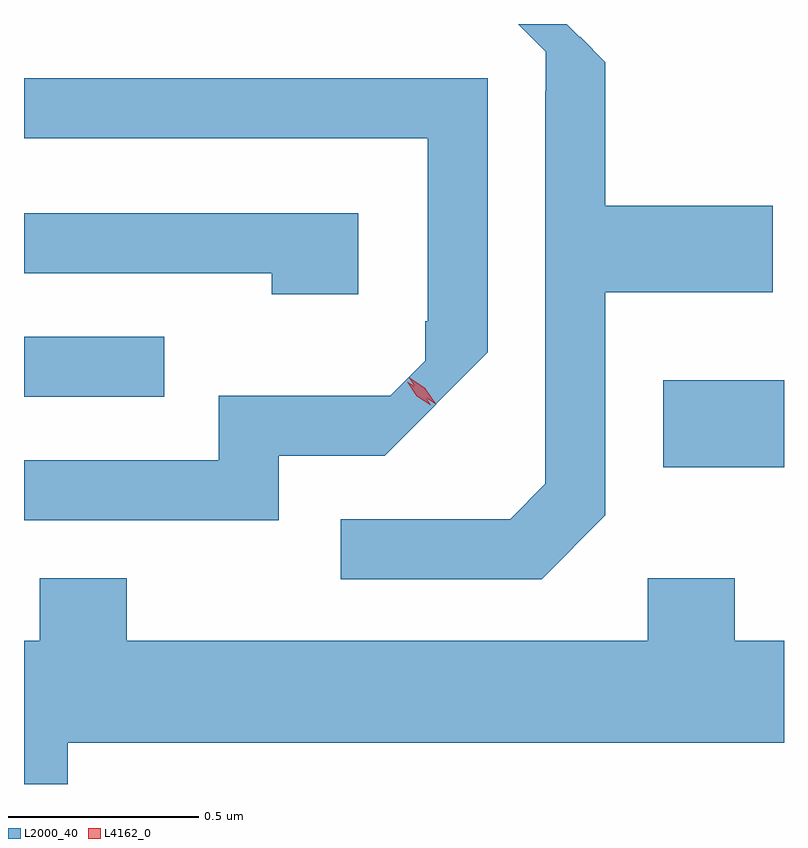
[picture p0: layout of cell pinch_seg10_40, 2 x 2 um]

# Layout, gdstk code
import gdstk
lib = gdstk.Library(unit=1e-6, precision=1e-09)
def R(c, l, rs):  # rectangles x0, y0, x1, y1
    for r in rs: c.add(gdstk.rectangle(r[:2], r[2:], *l))
def P(c, l, *ps):  # polygons
    for p in ps: c.add(gdstk.Polygon(p, *l))
L2000_40 = (2000, 40)
L4162_0 = (4162, 0)

pinch_seg10_40 = lib.new_cell('pinch_seg10_40')
R(pinch_seg10_40, L2000_40, [(596.531,2187.901,596.849,2188.129), (594.849,2188.086,595.218,2188.244)])
P(pinch_seg10_40, L2000_40, [(596.379,2187.774),(596.379,2188.361),(596.819,2188.361),(596.819,2188.589),(596.379,2188.589),(596.379,2188.967),(596.313,2189.033),(596.312,2189.032),(596.277,2189.067),(596.149,2189.067),(596.222,2188.994),(596.222,2188.89),(596.221,2188.89),(596.221,2187.857),(596.129,2187.764),(595.683,2187.764),(595.683,2187.606),(596.212,2187.606)],
  [(595.519,2187.931),(595.798,2187.931),(596.069,2188.203),(596.069,2188.924),(594.849,2188.924),(594.849,2188.766),(595.911,2188.766),(595.911,2188.285),(595.905,2188.285),(595.905,2188.181),(595.813,2188.089),(595.361,2188.089),(595.361,2187.919),(594.849,2187.919),(594.849,2187.761),(595.519,2187.761)],
  [(595.729,2188.569),(594.849,2188.569),(594.849,2188.411),(595.501,2188.411),(595.501,2188.356),(595.729,2188.356)],
  [(594.964,2187.176),(596.849,2187.176),(596.849,2187.444),(596.719,2187.444),(596.719,2187.609),(596.491,2187.609),(596.491,2187.444),(595.119,2187.444),(595.119,2187.609),(594.891,2187.609),(594.891,2187.444),(594.849,2187.444),(594.849,2187.067),(594.964,2187.067)])
P(pinch_seg10_40, L4162_0, [(595.931,2188.068),(595.889,2188.095),(595.861,2188.137),(595.861,2188.138),(595.862,2188.138),(595.903,2188.11),(595.932,2188.068),(595.932,2188.068)],
  [(595.92,2188.064),(595.882,2188.088),(595.858,2188.126),(595.858,2188.126),(595.858,2188.126),(595.896,2188.102),(595.92,2188.064),(595.92,2188.064)])

lib.write_gds('pinch_seg10_40.gds')
